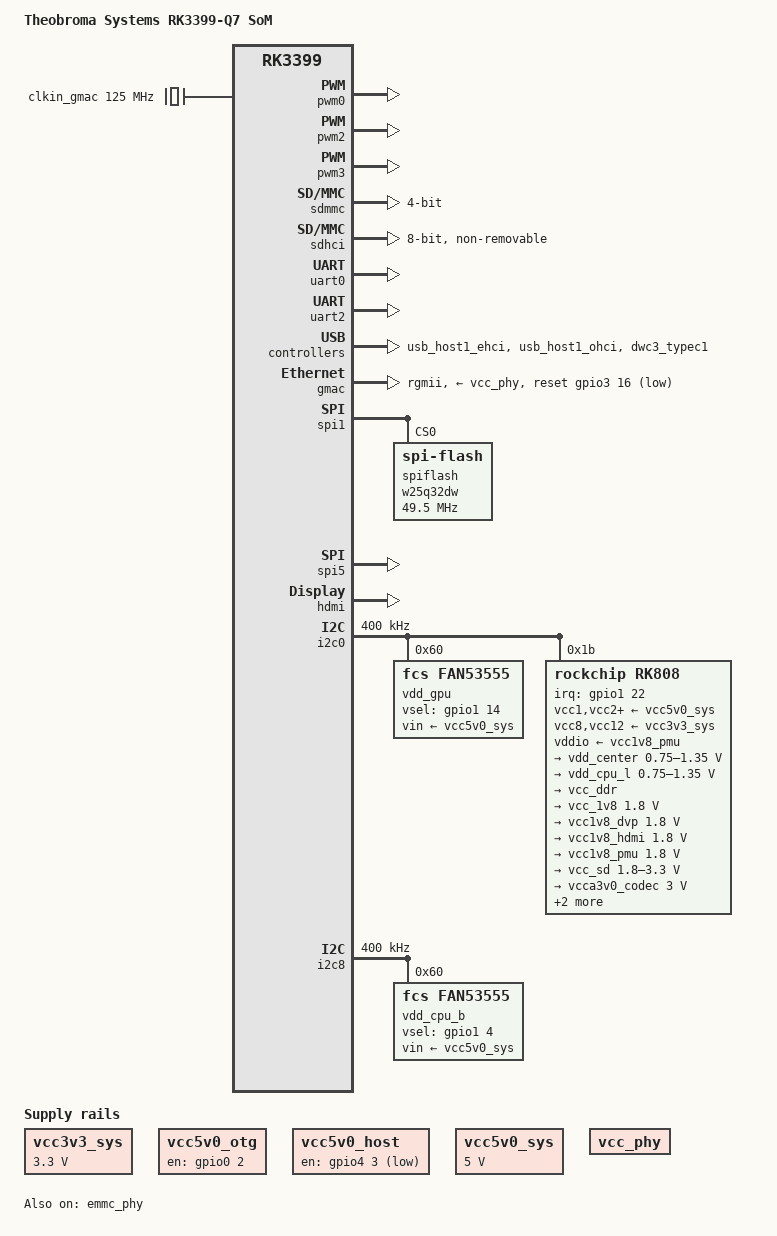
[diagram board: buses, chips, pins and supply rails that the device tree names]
/*
 * (C) Copyright 2017 Theobroma Systems Design und Consulting GmbH
 *
 * SPDX-License-Identifier:     GPL-2.0+	X11
 */

/dts-v1/;
#include <dt-bindings/pwm/pwm.h>
#include "rk3399.dtsi"
#include "rk3399-sdram-ddr3-1600.dtsi"

/ {
	model = "Theobroma Systems RK3399-Q7 SoM";
	compatible = "tsd,puma", "rockchip,rk3399";

	config {
		u-boot,spl-payload-offset = <0x40000>; // 256kbyte
		u-boot,boot-led = "puma:orange:power";
	};

	chosen {
		stdout-path = "serial0:115200n8";
		u-boot,spl-boot-order = &spiflash, &sdhci, &sdmmc;
	};

	aliases {
		spi0 = &spi1;
		spi1 = &spi5;
	};

	vcc3v3_sys: vcc3v3-sys {
		compatible = "regulator-fixed";
		regulator-name = "vcc3v3_sys";
		regulator-always-on;
		regulator-boot-on;
		regulator-min-microvolt = <3300000>;
		regulator-max-microvolt = <3300000>;
	};

	vcc5v0_otg: vcc5v0-otg-regulator {
		compatible = "regulator-fixed";
		enable-active-high;
		gpio = <&gpio0 2 GPIO_ACTIVE_HIGH>;
		pinctrl-names = "default";
		pinctrl-0 = <&otg_vbus_drv>;
		regulator-name = "vcc5v0_otg";
		regulator-always-on;
	};

	vcc5v0_host: vcc5v0-host-regulator {
		compatible = "regulator-fixed";
		enable-active-low;
		gpio = <&gpio4 3 GPIO_ACTIVE_HIGH>;
		pinctrl-names = "default";
		pinctrl-0 = <&host_vbus_drv>;
		regulator-name = "vcc5v0_host";
		regulator-always-on;
	};

	vcc5v0_sys: vcc5v0-sys {
		compatible = "regulator-fixed";
		regulator-name = "vcc5v0_sys";
		regulator-always-on;
		regulator-boot-on;
		regulator-min-microvolt = <5000000>;
		regulator-max-microvolt = <5000000>;
	};

	vcc_phy: vcc-phy-regulator {
		compatible = "regulator-fixed";
		regulator-name = "vcc_phy";
		regulator-always-on;
		regulator-boot-on;
	};

	clkin_gmac: external-gmac-clock {
		compatible = "fixed-clock";
		clock-frequency = <125000000>;
		clock-output-names = "clkin_gmac";
		#clock-cells = <0>;
	};

	vcc_phy: vcc-phy-regulator {
		compatible = "regulator-fixed";
		regulator-name = "vcc_phy";
		regulator-always-on;
		regulator-boot-on;
	};
};

&emmc_phy {
	status = "okay";
};

&pwm0 {
	status = "okay";
};

&pwm2 {
	status = "okay";
};

&pwm3 {
	status = "okay";
};

&sdmmc {
        u-boot,dm-pre-reloc;
	bus-width = <4>;
	status = "okay";
};

&sdhci {
	bus-width = <8>;
	mmc-hs400-1_8v;
	mmc-hs400-enhanced-strobe;
	non-removable;
	status = "okay";
};

&uart0 {
	u-boot,dm-pre-reloc;
	status = "okay";
};

&uart2 {
	status = "okay";
};

&usb_host0_ehci {
	status = "disabled";
};

&usb_host0_ohci {
	status = "disabled";
};

&dwc3_typec0 {
	status = "disabled";
};

&usb_host1_ehci {
	status = "okay";
};

&usb_host1_ohci {
	status = "okay";
};

&dwc3_typec1 {
	rockchip,vbus-gpio = <&gpio4 3 GPIO_ACTIVE_LOW>;
	status = "okay";
};

&pinctrl {
	pmic {
		pmic_int_l: pmic-int-l {
			rockchip,pins =
				<1 21 RK_FUNC_GPIO &pcfg_pull_up>;
		};

		pmic_dvs2: pmic-dvs2 {
			rockchip,pins =
				<1 18 RK_FUNC_GPIO &pcfg_pull_down>;
		};
	};
};

&gmac {
        phy-supply = <&vcc_phy>;
	phy-mode = "rgmii";
	clock_in_out = "input";
	snps,reset-gpio = <&gpio3 16 GPIO_ACTIVE_LOW>;
	snps,reset-active-low;
	snps,reset-delays-us = <0 10000 50000>;
	assigned-clocks = <&cru SCLK_RMII_SRC>;
	assigned-clock-parents = <&clkin_gmac>;
	pinctrl-names = "default";
	pinctrl-0 = <&rgmii_pins>;
	tx_delay = <0x10>;
	rx_delay = <0x10>;
	status = "okay";
};

&spi1 {
	u-boot,dm-pre-reloc;

	status = "okay";

	#address-cells = <1>;
	#size-cells = <0>;

	spiflash: w25q32dw@0 {
		u-boot,dm-pre-reloc;

		compatible = "spi-flash";
		reg = <0>;
		spi-max-frequency = <49500000>;
		spi-cpol;
		spi-cpha;
	};
};

&spi5 {
	status = "okay";
};

&hdmi {
	status = "okay";
};

&pinctrl {
	// Pins that are not explicitely used by any devices
	pinctrl-names = "default";
	pinctrl-0 = <&puma_pin_hog>;
	hog {
		puma_pin_hog: puma_pin_hog {
			rockchip,pins =
				// We need pull-ups on the Q7 buttons
				<0  4 RK_FUNC_GPIO &pcfg_pull_up>, // LID_BTN#
				<0 10 RK_FUNC_GPIO &pcfg_pull_up>, // BATLOW#
				<0 11 RK_FUNC_GPIO &pcfg_pull_up>, // SLP_BTN#
				<0  9 RK_FUNC_GPIO &pcfg_pull_up>; // BIOS_DISABLE#
		};
	};

	pmic {
		pmic_int_l: pmic-int-l {
			rockchip,pins =	<1 22 RK_FUNC_GPIO &pcfg_pull_up>;
		};
	};

	leds_pins_puma: led_pins@0 {
		rockchip,pins =	<2 25 RK_FUNC_GPIO &pcfg_pull_none>,
				<1 2 RK_FUNC_GPIO &pcfg_pull_none>;
	};

	usb2 {
		otg_vbus_drv: otg-vbus-drv {
			rockchip,pins =	<0 2 RK_FUNC_GPIO &pcfg_pull_none>;
		};

		host_vbus_drv: host-vbus-drv {
			rockchip,pins = <0 2 RK_FUNC_GPIO &pcfg_pull_none>;
		};
	};

	i2c8 {
		i2c8_xfer_a: i2c8-xfer {
			rockchip,pins = <1 21 RK_FUNC_1 &pcfg_pull_up>,
			                <1 20 RK_FUNC_1 &pcfg_pull_up>;
		};
	};
	sdio-pwrseq {
		wifi_enable_h: wifi-enable-h {
			rockchip,pins = <1 25 RK_FUNC_GPIO &pcfg_pull_none>;
		};
	};
};

&i2c0 {
	status = "okay";
	i2c-scl-rising-time-ns = <168>;
	i2c-scl-falling-time-ns = <4>;
	clock-frequency = <400000>;

	vdd_gpu: fan535555@60 {
		compatible = "fcs,fan53555";
		reg = <0x60>;
		vsel-gpios = <&gpio1 14 GPIO_ACTIVE_HIGH>;
		vin-supply = <&vcc5v0_sys>;
		regulator-compatible = "fan53555-reg";
		regulator-name = "vdd_gpu";
		regulator-min-microvolt = <600000>;
		regulator-max-microvolt = <1230000>;
		regulator-ramp-delay = <1000>;
		fcs,suspend-voltage-selector = <1>;
		regulator-always-on;
		regulator-boot-on;
		regulator-initial-state = <3>;
			regulator-state-mem {
			regulator-off-in-suspend;
		};
	};

	rk808: pmic@1b {
		compatible = "rockchip,rk808";
		reg = <0x1b>;
		interrupt-parent = <&gpio1>;
		interrupts = <22 IRQ_TYPE_LEVEL_LOW>;  // TODO check interrupt?
		pinctrl-names = "default";
		pinctrl-0 = <&pmic_int_l>;
		rockchip,system-power-controller;
		wakeup-source;
		#clock-cells = <1>;
		clock-output-names = "xin32k", "rk808-clkout2";

		vcc1-supply = <&vcc5v0_sys>;
		vcc2-supply = <&vcc5v0_sys>;
		vcc3-supply = <&vcc5v0_sys>;
		vcc4-supply = <&vcc5v0_sys>;
		vcc6-supply = <&vcc5v0_sys>;
		vcc7-supply = <&vcc5v0_sys>;
		vcc8-supply = <&vcc3v3_sys>;
		vcc9-supply = <&vcc5v0_sys>;
		vcc10-supply = <&vcc5v0_sys>;
		vcc11-supply = <&vcc5v0_sys>;
		vcc12-supply = <&vcc3v3_sys>;
		vddio-supply = <&vcc1v8_pmu>;

		regulators {
			vdd_center: DCDC_REG1 {
				regulator-always-on;
				regulator-boot-on;
				regulator-min-microvolt = <750000>;
				regulator-max-microvolt = <1350000>;
				regulator-ramp-delay = <6001>;
				regulator-name = "vdd_center";
				regulator-state-mem {
					regulator-off-in-suspend;
				};
			};

			vdd_cpu_l: DCDC_REG2 {
				regulator-always-on;
				regulator-boot-on;
				regulator-min-microvolt = <750000>;
				regulator-max-microvolt = <1350000>;
				regulator-ramp-delay = <6001>;
				regulator-name = "vdd_cpu_l";
				regulator-state-mem {
					regulator-off-in-suspend;
				};
			};

			vcc_ddr: DCDC_REG3 {
				regulator-always-on;
				regulator-boot-on;
				regulator-name = "vcc_ddr";
				regulator-state-mem {
					regulator-on-in-suspend;
				};
			};

			vcc_1v8: DCDC_REG4 {
				regulator-always-on;
				regulator-boot-on;
				regulator-min-microvolt = <1800000>;
				regulator-max-microvolt = <1800000>;
				regulator-name = "vcc_1v8";
				regulator-state-mem {
					regulator-on-in-suspend;
					regulator-suspend-microvolt = <1800000>;
				};
			};
// TODO TURN OFF LDO1
			vcc1v8_dvp: LDO_REG1 {
				regulator-always-on;
				regulator-boot-on;
				regulator-min-microvolt = <1800000>;
				regulator-max-microvolt = <1800000>;
				regulator-name = "vcc1v8_dvp";
				regulator-state-mem {
					regulator-off-in-suspend;
				};
			};

			vcc1v8_hdmi: LDO_REG2 {
				regulator-always-on;
				regulator-boot-on;
				regulator-min-microvolt = <1800000>;
				regulator-max-microvolt = <1800000>;
				regulator-name = "vcc1v8_hdmi";
				regulator-state-mem {
					regulator-off-in-suspend;
				};
			};

			vcc1v8_pmu: LDO_REG3 {
				regulator-always-on;
				regulator-boot-on;
				regulator-min-microvolt = <1800000>;
				regulator-max-microvolt = <1800000>;
				regulator-name = "vcc1v8_pmu";
				regulator-state-mem {
					regulator-on-in-suspend;
					regulator-suspend-microvolt = <1800000>;
				};
			};

			vcc_sd: LDO_REG4 {
				regulator-always-on;
				regulator-boot-on;
				regulator-min-microvolt = <1800000>;
				regulator-max-microvolt = <3300000>;
				regulator-name = "vcc_sd";
				regulator-state-mem {
					regulator-on-in-suspend;
					regulator-suspend-microvolt = <3300000>;
				};
			};
// TURN OF LDO5 TODO
			vcca3v0_codec: LDO_REG5 {
				regulator-always-on;
				regulator-boot-on;
				regulator-min-microvolt = <3000000>;
				regulator-max-microvolt = <3000000>;
				regulator-name = "vcca3v0_codec";
				regulator-state-mem {
					regulator-off-in-suspend;
				};
			};
// TURN OF LDO6 TODO
			vcc_1v5: LDO_REG6 {
				regulator-always-on;
				regulator-boot-on;
				regulator-min-microvolt = <1500000>;
				regulator-max-microvolt = <1500000>;
				regulator-name = "vcc_1v5";
				regulator-state-mem {
					regulator-on-in-suspend;
					regulator-suspend-microvolt = <1500000>;
				};
			};

			vcc0v9_hdmi: LDO_REG7 {
				regulator-always-on;
				regulator-boot-on;
				regulator-min-microvolt = <900000>;
				regulator-max-microvolt = <900000>;
				regulator-name = "vcc0v9_hdmi";
				regulator-state-mem {
					regulator-off-in-suspend;
				};
			};

			vcc_efuse: LDO_REG8 {
				regulator-always-on;
				regulator-boot-on;
				regulator-min-microvolt = <1800000>;
				regulator-max-microvolt = <1800000>;
				regulator-name = "vcc_efuse";
				regulator-state-mem {
					regulator-off-in-suspend;
				};
			};

			vcc3v3_s3: SWITCH_REG1 {
				regulator-always-on;
				regulator-boot-on;
				regulator-name = "vcc3v3_s3";
				regulator-state-mem {
					regulator-off-in-suspend;
				};
			};

			vcc3v3_s0: SWITCH_REG2 {
				regulator-always-on;
				regulator-boot-on;
				regulator-name = "vcc3v3_s0";
				regulator-state-mem {
					regulator-off-in-suspend;
				};
			};
		};
	};
};

&i2c8 {
	status = "okay";
	clock-frequency = <400000>;

	vdd_cpu_b: fan53555@60 {
		compatible = "fcs,fan53555";
		reg = <0x60>;
		vsel-gpios = <&gpio1 4 GPIO_ACTIVE_HIGH>;
		vin-supply = <&vcc5v0_sys>;
		regulator-compatible = "fan53555-reg";
		regulator-name = "vdd_cpu_b";
		regulator-min-microvolt = <600000>;
		regulator-max-microvolt = <1230000>;
		regulator-ramp-delay = <1000>;
		fcs,suspend-voltage-selector = <1>;
		regulator-always-on;
		regulator-boot-on;
		regulator-initial-state = <3>;
			regulator-state-mem {
			regulator-off-in-suspend;
		};
	};
};
